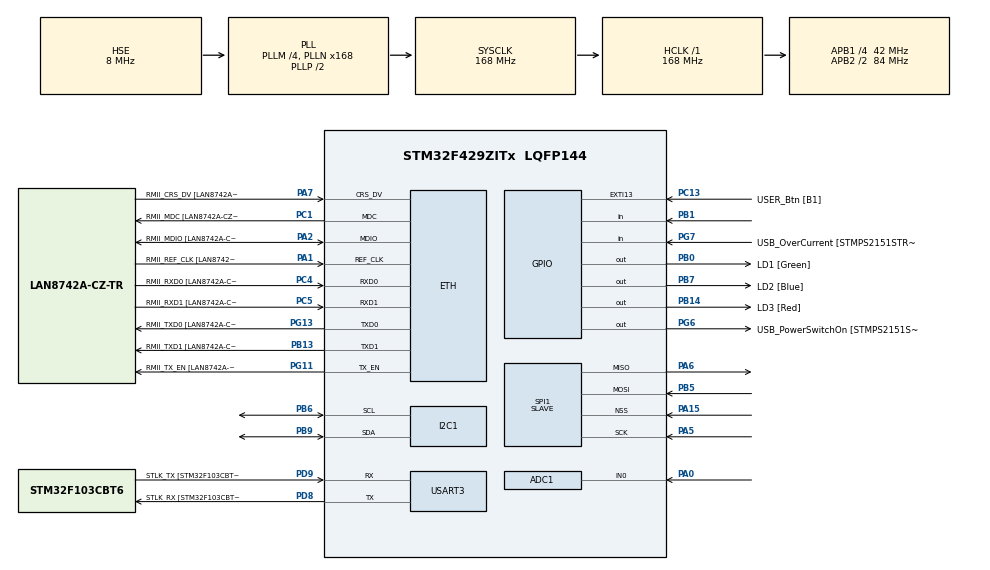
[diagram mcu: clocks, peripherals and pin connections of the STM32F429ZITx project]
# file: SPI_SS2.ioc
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ADC1.Channel-0\#ChannelRegularConversion=ADC_CHANNEL_0
ADC1.NbrOfConversionFlag=1
ADC1.Rank-0\#ChannelRegularConversion=1
ADC1.SamplingTime-0\#ChannelRegularConversion=ADC_SAMPLETIME_3CYCLES
ADC1.master=1
ETH.MediaInterface=HAL_ETH_RMII_MODE
ETH.PHY_Name=LAN8742A_PHY_ADDRESS
ETH.PHY_Value=0
ETH.PhyAddress=0
I2C1.I2C_Mode=I2C_Fast
Mcu.Family=STM32F4
Mcu.Name=STM32F429ZITx
Mcu.Package=LQFP144
NVIC.PriorityGroup=NVIC_PRIORITYGROUP_4
PA0/WKUP.Signal=ADCx_IN0
PA1.GPIO_Label=RMII_REF_CLK [LAN8742A-CZ-TR_REFCLK0]
PA1.Mode=RMII
PA1.Signal=ETH_REF_CLK
PA10.GPIO_Label=USB_ID
PA10.Signal=USB_OTG_FS_ID
PA11.GPIO_Label=USB_DM
PA11.Signal=USB_OTG_FS_DM
PA12.GPIO_Label=USB_DP
PA12.Signal=USB_OTG_FS_DP
PA13.GPIO_Label=TMS
PA13.Mode=Serial_Wire
PA13.Signal=SYS_JTMS-SWDIO
PA14.GPIO_Label=TCK
PA14.Mode=Serial_Wire
PA14.Signal=SYS_JTCK-SWCLK
PA15.Mode=NSS_Signal_Hard_Input
PA15.Signal=SPI1_NSS
PA2.GPIO_Label=RMII_MDIO [LAN8742A-CZ-TR_MDIO]
PA2.Mode=RMII
PA2.Signal=ETH_MDIO
PA5.Mode=Full_Duplex_Slave
PA5.Signal=SPI1_SCK
PA6.Mode=Full_Duplex_Slave
PA6.Signal=SPI1_MISO
PA7.GPIO_Label=RMII_CRS_DV [LAN8742A-CZ-TR_CRS_DV]
PA7.Mode=RMII
PA7.Signal=ETH_CRS_DV
PA8.GPIO_Label=USB_SOF [TP1]
PA8.Signal=USB_OTG_FS_SOF
PA9.GPIO_Label=USB_VBUS
PA9.Signal=USB_OTG_FS_VBUS
PB0.GPIO_Label=LD1 [Green]
PB0.Signal=GPIO_Output
PB1.Signal=GPIO_Input
PB13.GPIO_Label=RMII_TXD1 [LAN8742A-CZ-TR_TXD1]
PB13.Mode=RMII
PB13.Signal=ETH_TXD1
PB14.GPIO_Label=LD3 [Red]
PB14.Signal=GPIO_Output
PB5.Mode=Full_Duplex_Slave
PB5.Signal=SPI1_MOSI
PB6.GPIO_Pu=GPIO_NOPULL
PB6.GPIO_Speed=GPIO_SPEED_FREQ_HIGH
PB6.Mode=I2C
PB6.Signal=I2C1_SCL
PB7.GPIO_Label=LD2 [Blue]
PB7.Signal=GPIO_Output
PB9.GPIO_Pu=GPIO_NOPULL
PB9.GPIO_Speed=GPIO_SPEED_FREQ_HIGH
PB9.Mode=I2C
PB9.Signal=I2C1_SDA
PC1.GPIO_Label=RMII_MDC [LAN8742A-CZ-TR_MDC]
PC1.Mode=RMII
PC1.Signal=ETH_MDC
PC13.GPIO_Label=USER_Btn [B1]
PC13.Signal=GPXTI13
PC14/OSC32_IN.Mode=LSE-External-Oscillator
PC14/OSC32_IN.Signal=RCC_OSC32_IN
PC15/OSC32_OUT.Mode=LSE-External-Oscillator
PC15/OSC32_OUT.Signal=RCC_OSC32_OUT
PC4.GPIO_Label=RMII_RXD0 [LAN8742A-CZ-TR_RXD0]
PC4.Mode=RMII
PC4.Signal=ETH_RXD0
PC5.GPIO_Label=RMII_RXD1 [LAN8742A-CZ-TR_RXD1]
PC5.Mode=RMII
PC5.Signal=ETH_RXD1
PD8.GPIO_Label=STLK_RX [STM32F103CBT6_PA3]
PD8.Mode=Asynchronous
PD8.Signal=USART3_TX
PD9.GPIO_Label=STLK_TX [STM32F103CBT6_PA2]
PD9.Mode=Asynchronous
PD9.Signal=USART3_RX
PG11.GPIO_Label=RMII_TX_EN [LAN8742A-CZ-TR_TXEN]
PG11.Mode=RMII
PG11.Signal=ETH_TX_EN
PG13.GPIO_Label=RMII_TXD0 [LAN8742A-CZ-TR_TXD0]
PG13.Mode=RMII
PG13.Signal=ETH_TXD0
PG6.GPIO_Label=USB_PowerSwitchOn [STMPS2151STR_EN]
PG6.Signal=GPIO_Output
PG7.GPIO_Label=USB_OverCurrent [STMPS2151STR_FAULT]
PG7.Signal=GPIO_Input
PH0/OSC_IN.GPIO_Label=MCO [STM32F103CBT6_PA8]
PH0/OSC_IN.Mode=HSE-External-Clock-Source
PH0/OSC_IN.Signal=RCC_OSC_IN
PH1/OSC_OUT.Mode=HSE-External-Clock-Source
PH1/OSC_OUT.Signal=RCC_OSC_OUT
ProjectManager.HeapSize=0x200
ProjectManager.StackSize=0x400
ProjectManager.TargetToolchain=STM32CubeIDE
RCC.48MHZClocksFreq_Value=48000000
RCC.AHBFreq_Value=168000000
RCC.APB1CLKDivider=RCC_HCLK_DIV4
RCC.APB1Freq_Value=42000000
RCC.APB1TimFreq_Value=84000000
RCC.APB2CLKDivider=RCC_HCLK_DIV2
RCC.APB2Freq_Value=84000000
RCC.APB2TimCLKDivider=2
RCC.APB2TimFreq_Value=168000000
RCC.CortexFreq_Value=168000000
RCC.HCLKFreq_Value=168000000
RCC.HSE_VALUE=8000000
RCC.HSI_VALUE=16000000
RCC.PLLM=4
RCC.PLLMUL=RCC_PLL_MUL9
RCC.PLLN=168
RCC.PLLQ=7
RCC.PLLSourceVirtual=RCC_PLLSOURCE_HSE
RCC.PRESCALERUSB=RCC_USBCLKSOURCE_PLL_DIV1_5
RCC.SYSCLKFreq_VALUE=168000000
RCC.SYSCLKSource=RCC_SYSCLKSOURCE_PLLCLK
RCC.SYSCLKSourceVirtual=RCC_SYSCLKSOURCE_PLLCLK
RCC.USBFreq_Value=48000000
RCC.VCOOutputFreq_Value=336000000
SH.ADCx_IN0.0=ADC1_IN0,IN0
SPI1.CLKPhase=SPI_PHASE_1EDGE
SPI1.CLKPolarity=SPI_POLARITY_HIGH
SPI1.Direction=SPI_DIRECTION_2LINES
SPI1.Mode=SPI_MODE_SLAVE
SPI1.VirtualNSS=VM_NSSHARD
SPI1.VirtualType=VM_SLAVE
USART3.VirtualMode=VM_ASYNC
board=NUCLEO-F429ZI

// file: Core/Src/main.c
/* USER CODE BEGIN Header */
/**
  ******************************************************************************
  * @file           : main.c
  * @brief          : Main program body
  ******************************************************************************
  * @attention
  *
  * Copyright (c) 2025 STMicroelectronics.
  * All rights reserved.
  *
  * This software is licensed under terms that can be found in the LICENSE file
  * in the root directory of this software component.
  * If no LICENSE file comes with this software, it is provided AS-IS.
  *
  ******************************************************************************
  */
/* USER CODE END Header */
#include "main.h"
#include "adc.h"
#include "eth.h"
#include "i2c.h"
#include "spi.h"
#include "usart.h"
#include "gpio.h"

/* USER CODE BEGIN Includes */
#include "bh1750.h"

/* USER CODE END Includes */

void SystemClock_Config(void);

/* USER CODE BEGIN 0 */
void I2C_Scan(void)
{
    HAL_StatusTypeDef result;
    char msg[30];

    HAL_UART_Transmit(&huart3, (uint8_t *)"Scanning I2C bus...\r\n", 21, HAL_MAX_DELAY);

    for(uint16_t addr = 1; addr < 128; addr++)
    {
        // Check the sensor status
        result = HAL_I2C_IsDeviceReady(&hi2c1, (uint16_t)(addr << 1), 1, 10);

        if(result == HAL_OK)
        {
            snprintf(msg, sizeof(msg), "Found device at 0x%02X\r\n", addr);
            HAL_UART_Transmit(&huart3, (uint8_t *)msg, strlen(msg), HAL_MAX_DELAY);
        }
    }
}

/* USER CODE END 0 */

int main(void)
{

  /* USER CODE BEGIN 1 */
	float BH1750_lux = 0;
	uint8_t txData[4] = {0};
	uint8_t rxData[4] = {0};
    uint32_t rain_adc_value = 0;
    GPIO_PinState rain_detected;
    uint16_t lux_short = 0;

  /* USER CODE END 1 */

  /* MCU Configuration--------------------------------------------------------*/

  /* Reset of all peripherals, Initializes the Flash interface and the Systick. */
  HAL_Init();

  /* Configure the system clock */
  SystemClock_Config();

  /* Initialize all configured peripherals */
  MX_GPIO_Init();
  MX_ETH_Init();
  MX_SPI1_Init();
  MX_USART3_UART_Init();
  MX_I2C1_Init();
  MX_ADC1_Init();
  /* USER CODE BEGIN 2 */
	BH1750_Init(&hi2c1);
	BH1750_SetMode(CONTINUOUS_LOW_RES_MODE);
	I2C_Scan();
	while (1)
	{
		if (HAL_GPIO_ReadPin(GPIOA, GPIO_PIN_5)) {
		  Uart3_Printf("Illuminace Rain detection sensor start\r\n");
		  break;
		}
		Uart3_Printf("Wait for Master ST\r\n");
		HAL_Delay(500);
	}
  /* USER CODE END 2 */

  /* Infinite loop */
  /* USER CODE BEGIN WHILE */

  while (1)
  {

	    // Read Rain_ADC
	    HAL_ADC_Start(&hadc1);
	    if (HAL_ADC_PollForConversion(&hadc1, 10) == HAL_OK) {
	        rain_adc_value = HAL_ADC_GetValue(&hadc1);
	    }
	    HAL_ADC_Stop(&hadc1);
	    rain_detected = HAL_GPIO_ReadPin(GPIOB, GPIO_PIN_1);

	    // Read Illuminance
		if (BH1750_OK == BH1750_ReadLight(&BH1750_lux))
		{
			lux_short = (uint16_t)BH1750_lux;
		}
		else
		{
			lux_short = 0;
		}

		// Send the Illuminance & Rain_ADC
		txData[0] = (lux_short >> 8) & 0xFF;
		txData[1] = lux_short & 0xFF;
	    txData[2] = (rain_adc_value >> 8) & 0xFF;
	    txData[3] = rain_adc_value & 0xFF;

	    if (HAL_SPI_TransmitReceive(&hspi1, txData, rxData, 4, HAL_MAX_DELAY) == HAL_OK)
		{
			Uart3_Printf("SPI sent Lux = %d, ADC = %d, Status = %d  \r\n",lux_short, rain_adc_value, rain_detected);
		}

    /* USER CODE END WHILE */

  }
}

void SystemClock_Config(void)
{
  RCC_OscInitTypeDef RCC_OscInitStruct = {0};
  RCC_ClkInitTypeDef RCC_ClkInitStruct = {0};

  /** Configure the main internal regulator output voltage
  */
  __HAL_RCC_PWR_CLK_ENABLE();
  __HAL_PWR_VOLTAGESCALING_CONFIG(PWR_REGULATOR_VOLTAGE_SCALE1);

  /** Initializes the RCC Oscillators according to the specified parameters
  * in the RCC_OscInitTypeDef structure.
  */
  RCC_OscInitStruct.OscillatorType = RCC_OSCILLATORTYPE_HSE;
  RCC_OscInitStruct.HSEState = RCC_HSE_BYPASS;
  RCC_OscInitStruct.PLL.PLLState = RCC_PLL_ON;
  RCC_OscInitStruct.PLL.PLLSource = RCC_PLLSOURCE_HSE;
  RCC_OscInitStruct.PLL.PLLM = 4;
  RCC_OscInitStruct.PLL.PLLN = 168;
  RCC_OscInitStruct.PLL.PLLP = RCC_PLLP_DIV2;
  RCC_OscInitStruct.PLL.PLLQ = 7;
  if (HAL_RCC_OscConfig(&RCC_OscInitStruct) != HAL_OK)
  {
    Error_Handler();
  }

  /** Initializes the CPU, AHB and APB buses clocks
  */
  RCC_ClkInitStruct.ClockType = RCC_CLOCKTYPE_HCLK|RCC_CLOCKTYPE_SYSCLK
                              |RCC_CLOCKTYPE_PCLK1|RCC_CLOCKTYPE_PCLK2;
  RCC_ClkInitStruct.SYSCLKSource = RCC_SYSCLKSOURCE_PLLCLK;
  RCC_ClkInitStruct.AHBCLKDivider = RCC_SYSCLK_DIV1;
  RCC_ClkInitStruct.APB1CLKDivider = RCC_HCLK_DIV4;
  RCC_ClkInitStruct.APB2CLKDivider = RCC_HCLK_DIV2;

  if (HAL_RCC_ClockConfig(&RCC_ClkInitStruct, FLASH_LATENCY_5) != HAL_OK)
  {
    Error_Handler();
  }
}

void Error_Handler(void)
{
  __disable_irq();
  while (1)
  {
  }
}
